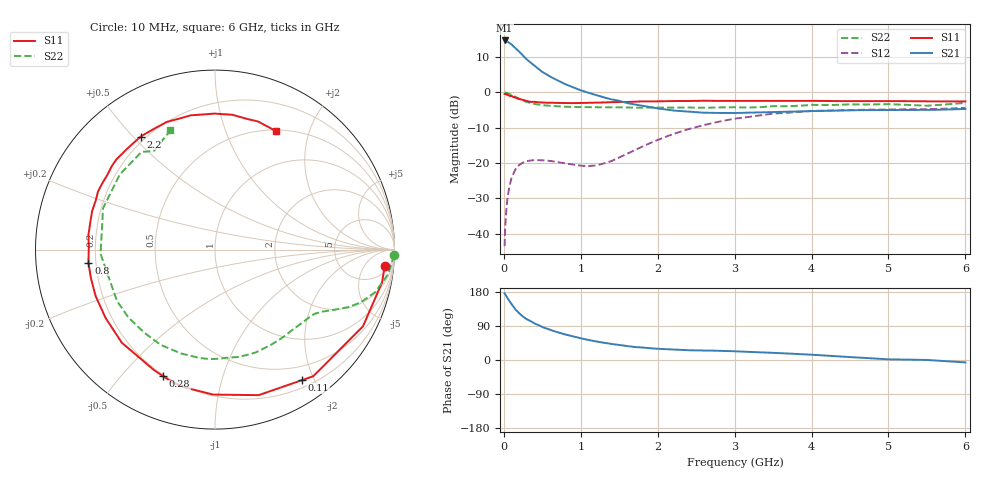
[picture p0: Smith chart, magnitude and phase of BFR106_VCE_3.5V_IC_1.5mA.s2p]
! Infineon Technologies  Discrete & RF Semiconductors
! BFR106
! VCE =  3.5 V,  IC =  1.5 mA
! Common Emitter S-Parameters:  Nov 2015
# GHz  S  MA  R  50
!  f  S11  S21  S12  S22
! GHz  MAG  ANG  MAG  ANG  MAG  ANG  MAG  ANG
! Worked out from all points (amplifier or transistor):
!   210 points, 10 MHz to 6 GHz, reference 50 ohm
!   highest |S21| = 14.7 dB at 10 MHz (marker M1)
!   |S21| within 3 dB of that: start of sweep to 191.4 MHz
!   unconditionally stable (mu >= 1): 818.3 MHz to 2.008 GHz; 3.098 GHz to end of sweep
!   at 185 MHz: K = 0.22, MSG = 16.3 dB, |S12| = -20.9 dB
!   at 1.52 GHz: K = 1.25, MAG = 4.8 dB, |S12| = -18.2 dB
!   at 6 GHz: K = 1.02, MAG = -1.0 dB, |S12| = -4.4 dB
!   S11 on the Smith chart (normalised r, x): 10 MHz: 9, -16; 110 MHz: 0.30, -1.84; 280 MHz: 0.19, -0.65; 800 MHz: 0.17, -0.05; 2.2 GHz: 0.18, +0.53; 6 GHz: 0.51, +1.51
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0.01  0.9496 -5.5  5.403 175.8  0.0067 86.6  0.9997 -1.8
0.025  0.9402 -13.7  5.331 171.3  0.0168 82.5  0.9879 -4.1
0.045  0.9268 -24.7  5.219 164.0  0.0302 75.6  0.9769 -7.3
0.05  0.9288 -27.4  5.204 162.1  0.0336 74.7  0.9746 -8.1
0.1  0.893 -52.2  4.77 147.4  0.0616 62.0  0.9227 -14.9
0.11  0.8745 -56.2  4.642 144.8  0.0653 59.2  0.9101 -15.9
0.15  0.8466 -73.3  4.235 133.2  0.0814 50.6  0.8625 -20.0
0.2  0.8078 -90.8  3.75 123.3  0.0941 43.1  0.8097 -23.3
0.24  0.7862 -102.5  3.373 116.1  0.1003 37.7  0.7728 -25.2
0.28  0.7624 -112.2  3.052 110.2  0.1049 33.8  0.7443 -26.8
0.4  0.734 -135.0  2.356 96.3  0.1105 25.7  0.6848 -30.4
0.5  0.7187 -148.0  1.942 87.0  0.1099 22.2  0.6581 -33.1
0.6  0.7138 -158.6  1.67 79.4  0.1074 20.6  0.6445 -36.3
0.8  0.7091 -174.1  1.301 67.2  0.0989 22.8  0.6258 -43.3
1.02  0.7096 172.1  1.05 56.4  0.0914 32.6  0.618 -51.8
1.4  0.7275 153.7  0.794 42.3  0.1069 58.4  0.6162 -68.3
2.02  0.7461 129.3  0.588 29.4  0.2165 70.2  0.609 -98.9
2.2  0.7539 123.3  0.553 27.5  0.2564 68.3  0.6091 -108.3
3.1  0.7578 98.2  0.513 22.2  0.4373 47.7  0.6108 -157.6
4.1  0.7551 81.5  0.545 12.7  0.5476 24.0  0.6619 156.1
5.1  0.751 70.4  0.564 1.5  0.5737 7.0  0.6737 126.0
6  0.7425 63.0  0.582 -6.3  0.6006 -4.0  0.7088 110.5
